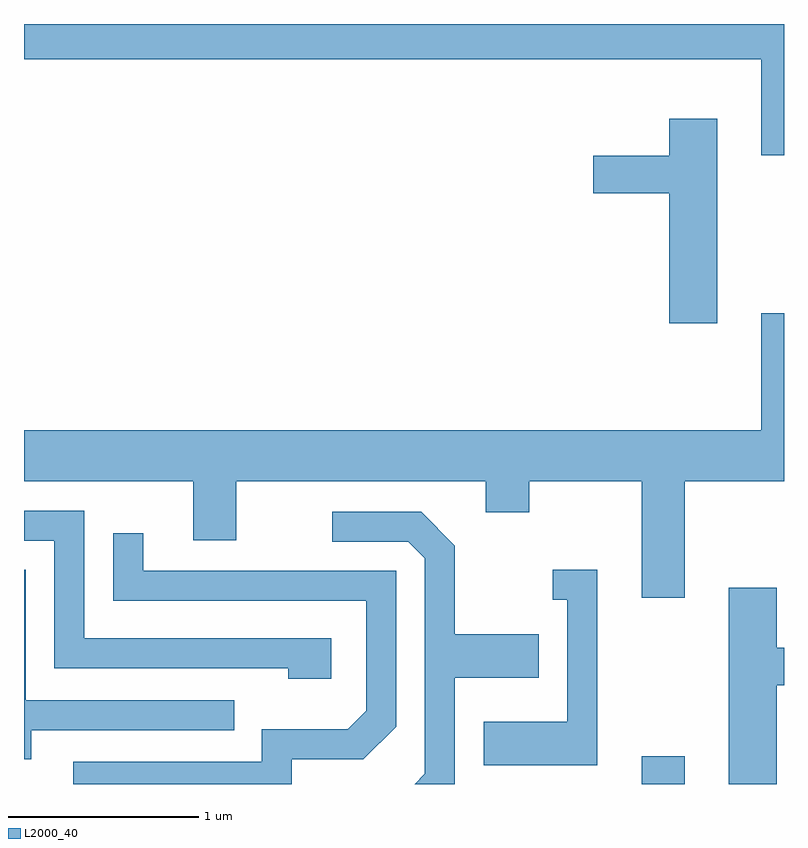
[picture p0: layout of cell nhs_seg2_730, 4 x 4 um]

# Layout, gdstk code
import gdstk
lib = gdstk.Library(unit=1e-6, precision=1e-09)
def R(c, l, rs):  # rectangles x0, y0, x1, y1
    for r in rs: c.add(gdstk.rectangle(r[:2], r[2:], *l))
def P(c, l, *ps):  # polygons
    for p in ps: c.add(gdstk.Polygon(p, *l))
L2000_40 = (2000, 40)

nhs_seg2_730 = lib.new_cell('nhs_seg2_730')
R(nhs_seg2_730, L2000_40, [(208.861,1077.802,209.089,1077.949)])
P(nhs_seg2_730, L2000_40, [(209.611,1081.802),(205.611,1081.802),(205.611,1081.616),(209.491,1081.616),(209.491,1081.111),(209.611,1081.111)],
  [(209.259,1081.304),(209.006,1081.304),(209.006,1081.109),(208.606,1081.109),(208.606,1080.911),(209.006,1080.911),(209.006,1080.226),(209.259,1080.226)],
  [(209.089,1079.396),(209.611,1079.396),(209.611,1080.279),(209.491,1080.279),(209.491,1079.664),(205.611,1079.664),(205.611,1079.396),(206.501,1079.396),(206.501,1079.086),(206.729,1079.086),(206.729,1079.396),(208.041,1079.396),(208.041,1079.231),(208.269,1079.231),(208.269,1079.396),(208.861,1079.396),(208.861,1078.781),(209.089,1078.781)],
  [(207.229,1078.569),(205.929,1078.569),(205.929,1079.239),(205.611,1079.239),(205.611,1079.081),(205.771,1079.081),(205.771,1078.411),(207.001,1078.411),(207.001,1078.356),(207.229,1078.356)],
  [(207.879,1078.361),(208.319,1078.361),(208.319,1078.589),(207.879,1078.589),(207.879,1079.057),(207.702,1079.234),(207.233,1079.234),(207.233,1079.076),(207.634,1079.076),(207.721,1078.989),(207.721,1077.857),(207.667,1077.802),(207.879,1077.802)],
  [(207.019,1077.931),(207.397,1077.931),(207.569,1078.104),(207.569,1078.924),(206.239,1078.924),(206.239,1079.123),(206.081,1079.123),(206.081,1078.766),(207.411,1078.766),(207.411,1078.187),(207.314,1078.089),(206.861,1078.089),(206.861,1077.919),(205.871,1077.919),(205.871,1077.802),(207.019,1077.802)],
  [(205.649,1078.086),(206.718,1078.086),(206.718,1078.244),(205.619,1078.244),(205.619,1078.929),(205.611,1078.929),(205.611,1077.931),(205.649,1077.931)],
  [(208.629,1078.929),(208.393,1078.929),(208.393,1078.771),(208.471,1078.771),(208.471,1078.129),(208.031,1078.129),(208.031,1077.901),(208.629,1077.901)],
  [(209.574,1078.321),(209.611,1078.321),(209.611,1078.519),(209.574,1078.519),(209.574,1078.834),(209.321,1078.834),(209.321,1077.802),(209.574,1077.802)])

lib.write_gds('nhs_seg2_730.gds')
